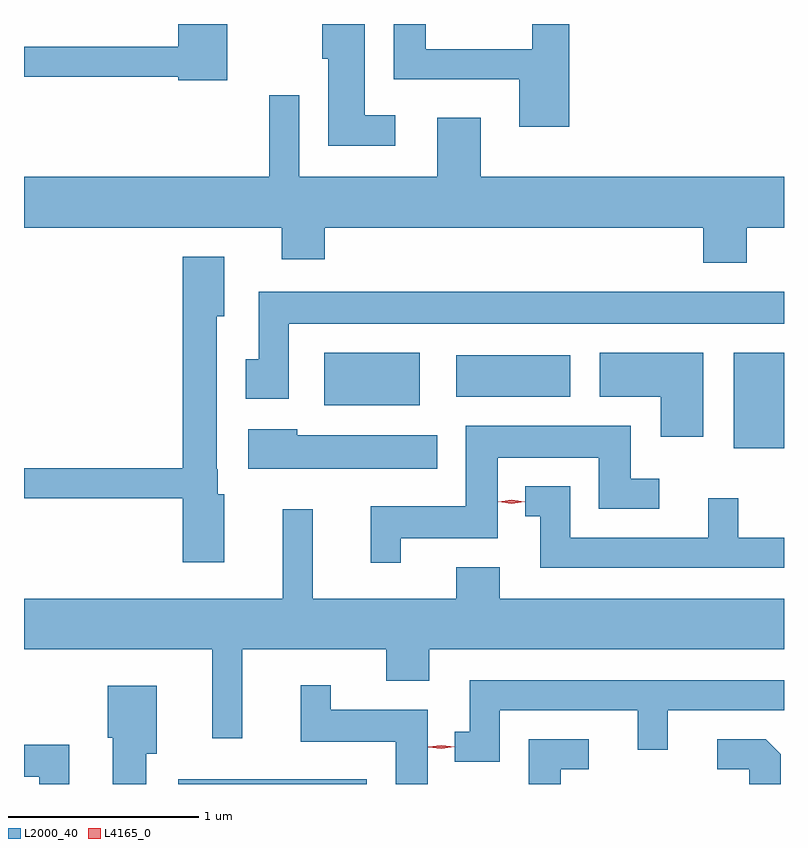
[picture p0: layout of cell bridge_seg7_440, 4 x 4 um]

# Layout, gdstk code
import gdstk
lib = gdstk.Library(unit=1e-6, precision=1e-09)
def R(c, l, rs):  # rectangles x0, y0, x1, y1
    for r in rs: c.add(gdstk.rectangle(r[:2], r[2:], *l))
def P(c, l, *ps):  # polygons
    for p in ps: c.add(gdstk.Polygon(p, *l))
L2000_40 = (2000, 40)
L4165_0 = (4165, 0)

bridge_seg7_440 = lib.new_cell('bridge_seg7_440')
R(bridge_seg7_440, L2000_40, [(1082.916,1704.728,1083.909,1704.754), (1085.841,1706.496,1086.105,1706.999), (1083.686,1706.721,1084.189,1706.999), (1084.381,1706.766,1084.979,1706.984)])
P(bridge_seg7_440, L2000_40, [(1083.174,1708.728),(1082.916,1708.728),(1082.916,1708.609),(1082.105,1708.609),(1082.105,1708.451),(1082.916,1708.451),(1082.916,1708.431),(1083.174,1708.431)],
  [(1084.974,1708.728),(1084.781,1708.728),(1084.781,1708.594),(1084.219,1708.594),(1084.219,1708.728),(1084.051,1708.728),(1084.051,1708.436),(1084.711,1708.436),(1084.711,1708.186),(1084.974,1708.186)],
  [(1084.058,1708.249),(1083.899,1708.249),(1083.899,1708.728),(1083.676,1708.728),(1083.676,1708.546),(1083.706,1708.546),(1083.706,1708.086),(1084.058,1708.086)],
  [(1085.909,1707.656),(1086.105,1707.656),(1086.105,1707.924),(1084.509,1707.924),(1084.509,1708.234),(1084.281,1708.234),(1084.281,1707.924),(1083.554,1707.924),(1083.554,1708.353),(1083.396,1708.353),(1083.396,1707.924),(1082.105,1707.924),(1082.105,1707.656),(1083.461,1707.656),(1083.461,1707.491),(1083.689,1707.491),(1083.689,1707.656),(1085.681,1707.656),(1085.681,1707.471),(1085.909,1707.471)],
  [(1083.159,1706.254),(1083.124,1706.254),(1083.124,1706.385),(1083.119,1706.385),(1083.119,1707.191),(1083.159,1707.191),(1083.159,1707.504),(1082.941,1707.504),(1082.941,1706.389),(1082.105,1706.389),(1082.105,1706.231),(1082.941,1706.231),(1082.941,1705.896),(1083.159,1705.896)],
  [(1083.499,1707.151),(1086.105,1707.151),(1086.105,1707.319),(1083.341,1707.319),(1083.341,1706.964),(1083.271,1706.964),(1083.271,1706.756),(1083.499,1706.756)],
  [(1085.679,1706.999),(1085.136,1706.999),(1085.136,1706.766),(1085.456,1706.766),(1085.456,1706.556),(1085.679,1706.556)],
  [(1084.089,1706.021),(1084.599,1706.021),(1084.599,1706.446),(1085.131,1706.446),(1085.131,1706.176),(1085.448,1706.176),(1085.448,1706.334),(1085.299,1706.334),(1085.299,1706.614),(1084.431,1706.614),(1084.431,1706.189),(1083.931,1706.189),(1083.931,1705.893),(1084.089,1705.893)],
  [(1084.279,1706.564),(1083.544,1706.564),(1083.544,1706.594),(1083.286,1706.594),(1083.286,1706.386),(1084.279,1706.386)],
  [(1086.105,1706.024),(1085.864,1706.024),(1085.864,1706.233),(1085.706,1706.233),(1085.706,1706.024),(1084.979,1706.024),(1084.979,1706.294),(1084.743,1706.294),(1084.743,1706.136),(1084.821,1706.136),(1084.821,1705.866),(1086.105,1705.866)],
  [(1083.254,1705.436),(1084.011,1705.436),(1084.011,1705.271),(1084.239,1705.271),(1084.239,1705.436),(1086.105,1705.436),(1086.105,1705.704),(1084.609,1705.704),(1084.609,1705.869),(1084.381,1705.869),(1084.381,1705.704),(1083.624,1705.704),(1083.624,1706.173),(1083.466,1706.173),(1083.466,1705.704),(1082.105,1705.704),(1082.105,1705.436),(1083.096,1705.436),(1083.096,1704.968),(1083.254,1704.968)],
  [(1084.609,1705.116),(1085.336,1705.116),(1085.336,1704.908),(1085.494,1704.908),(1085.494,1705.116),(1086.105,1705.116),(1086.105,1705.274),(1084.451,1705.274),(1084.451,1705.004),(1084.373,1705.004),(1084.373,1704.846),(1084.609,1704.846)],
  [(1084.229,1705.119),(1083.719,1705.119),(1083.719,1705.248),(1083.561,1705.248),(1083.561,1704.951),(1084.061,1704.951),(1084.061,1704.728),(1084.229,1704.728)],
  [(1082.749,1704.886),(1082.804,1704.886),(1082.804,1705.244),(1082.546,1705.244),(1082.546,1704.971),(1082.571,1704.971),(1082.571,1704.728),(1082.749,1704.728)],
  [(1086.089,1704.884),(1086.009,1704.964),(1085.753,1704.964),(1085.753,1704.806),(1085.921,1704.806),(1085.921,1704.728),(1086.089,1704.728)],
  [(1084.929,1704.806),(1085.078,1704.806),(1085.078,1704.964),(1084.761,1704.964),(1084.761,1704.728),(1084.929,1704.728)],
  [(1082.344,1704.934),(1082.105,1704.934),(1082.105,1704.766),(1082.186,1704.766),(1082.186,1704.728),(1082.344,1704.728)])
P(bridge_seg7_440, L4165_0, [(1084.671,1706.204),(1084.602,1706.213),(1084.602,1706.214),(1084.602,1706.214),(1084.671,1706.224),(1084.741,1706.214),(1084.741,1706.214),(1084.741,1706.213)],
  [(1084.302,1704.914),(1084.232,1704.922),(1084.232,1704.923),(1084.232,1704.924),(1084.302,1704.933),(1084.371,1704.924),(1084.371,1704.924),(1084.371,1704.923)])

lib.write_gds('bridge_seg7_440.gds')
